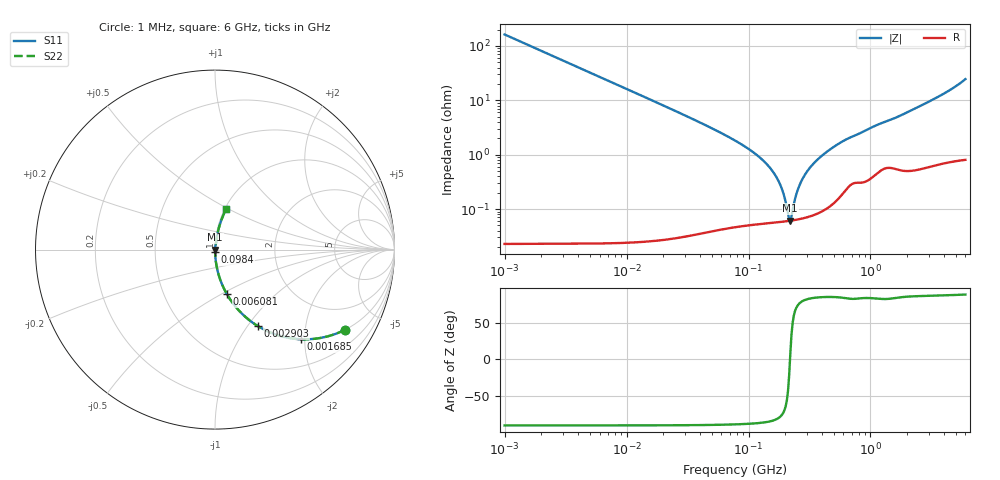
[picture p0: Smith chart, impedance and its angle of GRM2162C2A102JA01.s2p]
!Murata Part Number: GRM2162C2A102JA01
!These Parameters are Measured in Series Mode Connection
!Data Generated on Mar 30, 2021
!  o--ll--o
!Port1  Port2
!  o------o
!Operation Temp=25[degC], DC Bias Voltage=0[V]
!Freq. Start=1000[kHz] Stop=6[GHz] 401[Steps]
# Hz S RI R 50
!Freq.(Hz) S11(Real) S11(Imag) S21(Real) S21(Imag) S12(Real) S12(Imag) S22(Real) S22(Imag)
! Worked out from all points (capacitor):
!   401 points, 1 MHz to 6 GHz, reference 50 ohm
!   read as one part in series: C = 981 pF near 1.044 MHz
!   lowest |Z| = 61.5 mohm at 220 MHz (marker M1)
!   series resonance near 218.9 MHz, so ESL is about 540 pH
!   S11 on the Smith chart (normalised r, x): 1 MHz: 1.00, -3.24; 1.685 MHz: 1.00, -1.92; 2.903 MHz: 1.00, -1.12; 6.081 MHz: 1.00, -0.53; 98.4 MHz: 1.00, -0.03; 6 GHz: 1.02, +0.49
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1000000  0.7245 -0.4467  0.2755 0.4467  0.2755 0.4467  0.7245 -0.4467
1685346  0.4807 -0.4995  0.5193 0.4995  0.5193 0.4995  0.4807 -0.4995
2902843  0.2379 -0.4256  0.7621 0.4256  0.7621 0.4256  0.2379 -0.4256
4293785  0.1249 -0.3303  0.8751 0.3303  0.8751 0.3303  0.1249 -0.3303
6080879  0.0665 -0.2487  0.9335 0.2487  0.9335 0.2487  0.0665 -0.2487
1.843659e7  0.00781 -0.0865  0.9922 0.0865  0.9922 0.0865  0.00781 -0.0865
7.745967e7  0.000793 -0.0182  0.9992 0.0182  0.9992 0.0182  0.000793 -0.0182
9.83954e7  0.000669 -0.013  0.9993 0.013  0.9993 0.013  0.000669 -0.013
1.334167e8  0.000595 -0.00758  0.9994 0.00758  0.9994 0.00758  0.000595 -0.00758
1.658303e8  0.000582 -0.00414  0.9994 0.00414  0.9994 0.00414  0.000582 -0.00414
1.848803e8  0.000586 -0.0025  0.9994 0.0025  0.9994 0.0025  0.000586 -0.0025
2.106508e8  0.000602 -0.000567  0.9994 0.000567  0.9994 0.000567  0.000602 -0.000567
2.200158e8  0.00061 7.45e-05  0.9994 -7.45e-05  0.9994 -7.45e-05  0.00061 7.45e-05
2.248532e8  0.000615 0.000395  0.9994 -0.000395  0.9994 -0.000395  0.000615 0.000395
2.452905e8  0.000637 0.00168  0.9994 -0.00168  0.9994 -0.00168  0.000637 0.00168
2.618284e8  0.00066 0.00266  0.9993 -0.00266  0.9993 -0.00266  0.00066 0.00266
2.919064e8  0.000709 0.00432  0.9993 -0.00432  0.9993 -0.00432  0.000709 0.00432
3.325952e8  0.000795 0.00638  0.9992 -0.00638  0.9992 -0.00638  0.000795 0.00638
5.854581e8  0.00215 0.0172  0.9979 -0.0172  0.9979 -0.0172  0.00215 0.0172
1.428092e9  0.00747 0.042  0.9925 -0.042  0.9925 -0.042  0.00747 0.042
3.483508e9  0.0185 0.109  0.9815 -0.109  0.9815 -0.109  0.0185 0.109
6e9  0.0632 0.2275  0.9368 -0.2275  0.9368 -0.2275  0.0632 0.2275
